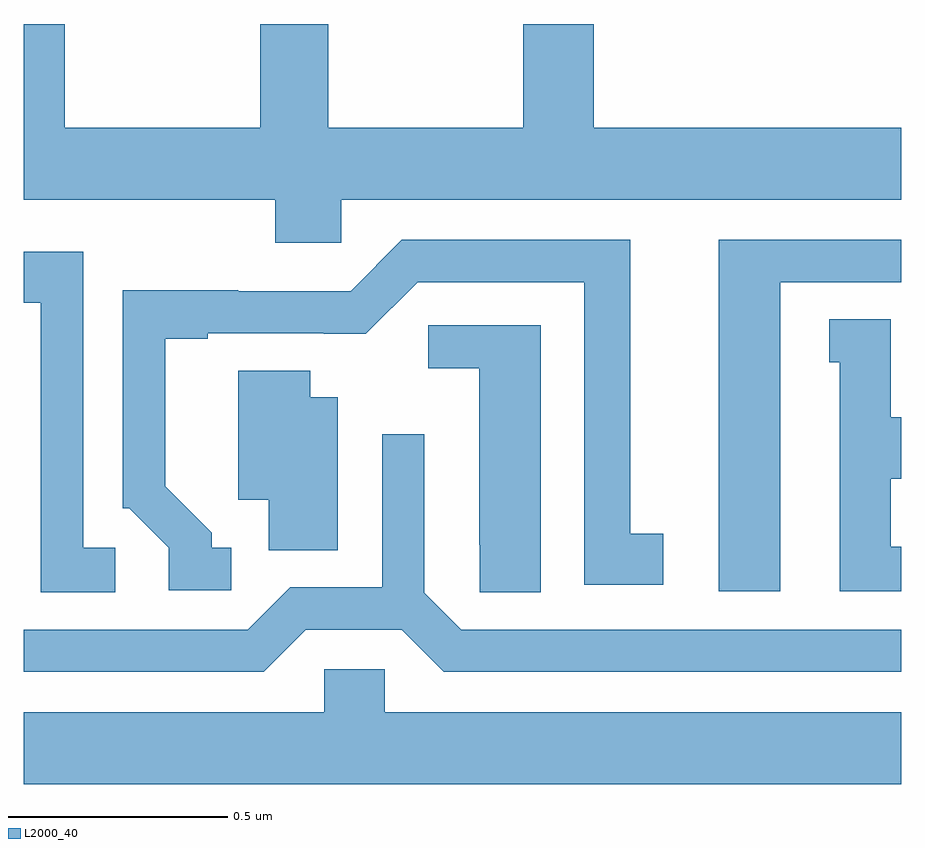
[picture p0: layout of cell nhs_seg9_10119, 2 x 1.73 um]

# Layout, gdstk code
import gdstk
lib = gdstk.Library(unit=1e-6, precision=1e-09)
def P(c, l, *ps):  # polygons
    for p in ps: c.add(gdstk.Polygon(p, *l))
L2000_40 = (2000, 40)

nhs_seg9_10119 = lib.new_cell('nhs_seg9_10119')
P(nhs_seg9_10119, L2000_40, [(241,1183.264),(240.299,1183.264),(240.299,1183.5),(240.139,1183.5),(240.139,1183.264),(239.694,1183.264),(239.694,1183.5),(239.539,1183.5),(239.539,1183.264),(239.094,1183.264),(239.094,1183.5),(239,1183.5),(239,1183.1),(239.573,1183.1),(239.573,1183.002),(239.724,1183.002),(239.724,1183.1),(241,1183.1)],
  [(240.724,1182.912),(241,1182.912),(241,1183.008),(240.584,1183.008),(240.584,1182.207),(240.724,1182.207)],
  [(239.473,1182.306),(239.428,1182.306),(239.428,1182.341),(239.323,1182.446),(239.323,1182.783),(239.419,1182.783),(239.419,1182.795),(239.684,1182.795),(239.684,1182.794),(239.78,1182.794),(239.898,1182.912),(240.278,1182.912),(240.278,1182.222),(240.457,1182.222),(240.457,1182.338),(240.382,1182.338),(240.382,1183.008),(239.862,1183.008),(239.745,1182.891),(239.489,1182.891),(239.489,1182.893),(239.226,1182.893),(239.226,1182.396),(239.241,1182.396),(239.331,1182.306),(239.331,1182.21),(239.473,1182.21)],
  [(239.209,1182.306),(239.136,1182.306),(239.136,1182.981),(239,1182.981),(239,1182.865),(239.039,1182.865),(239.039,1182.205),(239.209,1182.205)],
  [(241,1182.309),(240.976,1182.309),(240.976,1182.464),(241,1182.464),(241,1182.604),(240.976,1182.604),(240.976,1182.827),(240.836,1182.827),(240.836,1182.729),(240.86,1182.729),(240.86,1182.207),(241,1182.207)],
  [(240.178,1182.813),(239.922,1182.813),(239.922,1182.716),(240.038,1182.716),(240.038,1182.313),(240.039,1182.313),(240.039,1182.205),(240.178,1182.205)],
  [(239.716,1182.649),(239.653,1182.649),(239.653,1182.71),(239.489,1182.71),(239.489,1182.416),(239.558,1182.416),(239.558,1182.301),(239.716,1182.301)],
  [(239.643,1182.12),(239.861,1182.12),(239.957,1182.024),(241,1182.024),(241,1182.12),(239.997,1182.12),(239.913,1182.204),(239.913,1182.565),(239.817,1182.565),(239.817,1182.216),(239.607,1182.216),(239.511,1182.12),(239,1182.12),(239,1182.024),(239.547,1182.024)],
  [(241,1181.932),(239.823,1181.932),(239.823,1182.03),(239.685,1182.03),(239.685,1181.932),(239,1181.932),(239,1181.768),(241,1181.768)])

lib.write_gds('nhs_seg9_10119.gds')
